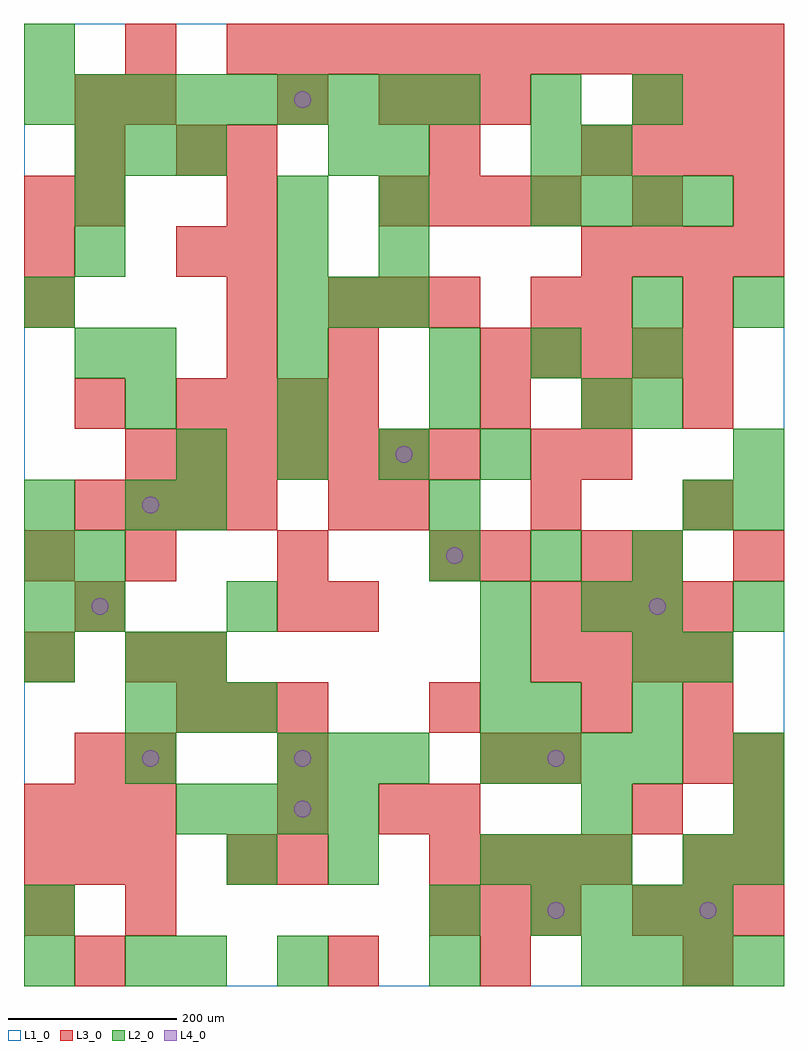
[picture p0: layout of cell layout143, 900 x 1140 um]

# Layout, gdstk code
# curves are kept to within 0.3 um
import gdstk
lib = gdstk.Library(unit=1e-6, precision=1e-09)
def R(c, l, rs):  # rectangles x0, y0, x1, y1
    for r in rs: c.add(gdstk.rectangle(r[:2], r[2:], *l))
def A(c, l, x, y, w, h, nx, ny, dx, dy):  # array of equal rectangles
    R(c, l, [(x+i*dx, y+j*dy, x+i*dx+w, y+j*dy+h) for i in range(nx) for j in range(ny)])
def P(c, l, *ps):  # polygons
    for p in ps: c.add(gdstk.Polygon(p, *l))
L1_0 = (1, 0)
L2_0 = (2, 0)
L3_0 = (3, 0)
L4_0 = (4, 0)

layout143 = lib.new_cell('layout143')
R(layout143, L1_0, [(0,0,900,1140)])
A(layout143, L2_0, 300, 0, 60, 60, 3, 1, 180, 0)
A(layout143, L2_0, 720, 0, 60, 60, 3, 1, 60, 0)
A(layout143, L2_0, 600, 60, 60, 60, 4, 2, 60, 840)
A(layout143, L2_0, 540, 120, 60, 60, 3, 1, 60, 0)
A(layout143, L2_0, 840, 120, 60, 60, 1, 3, 0, 60)
A(layout143, L2_0, 180, 180, 60, 60, 4, 1, 60, 0)
A(layout143, L2_0, 300, 240, 60, 60, 3, 2, 60, 540)
A(layout143, L2_0, 540, 240, 60, 60, 4, 1, 60, 0)
A(layout143, L2_0, 120, 300, 60, 60, 3, 1, 60, 0)
A(layout143, L2_0, 540, 300, 60, 60, 1, 3, 0, 60)
A(layout143, L2_0, 720, 300, 60, 60, 1, 3, 0, 60)
A(layout143, L2_0, 0, 360, 60, 60, 1, 4, 0, 60)
A(layout143, L2_0, 480, 480, 60, 60, 3, 1, 120, 0)
A(layout143, L2_0, 180, 540, 60, 60, 3, 1, 300, 0)
A(layout143, L2_0, 180, 600, 60, 60, 4, 1, 120, 0)
A(layout143, L2_0, 120, 660, 60, 60, 4, 1, 180, 0)
A(layout143, L2_0, 720, 660, 60, 60, 1, 3, 0, 60)
A(layout143, L2_0, 120, 720, 60, 60, 3, 1, 180, 0)
A(layout143, L2_0, 420, 840, 60, 60, 1, 3, 0, 60)
A(layout143, L2_0, 60, 960, 60, 60, 3, 1, 60, 0)
A(layout143, L2_0, 0, 1020, 60, 60, 9, 1, 60, 0)
R(layout143, L2_0, [(0,0,60,60), (120,0,180,60), (180,0,240,60), (0,60,60,120), (480,60,540,120), (240,120,300,180), (360,120,420,180), (780,120,840,180), (660,180,720,240), (120,240,180,300), (600,300,660,360), (120,360,180,420), (180,360,240,420), (780,360,840,420), (60,420,120,480), (240,420,300,480), (660,420,720,480), (840,420,900,480), (60,480,120,540), (120,540,180,600), (840,540,900,600), (840,600,900,660), (60,720,120,780), (600,720,660,780), (0,780,60,840), (840,780,900,840), (60,840,120,900), (300,840,360,900), (60,900,120,960), (300,900,360,960), (360,960,420,1020), (600,960,660,1020), (660,960,720,1020), (600,1020,660,1080), (720,1020,780,1080), (0,1080,60,1140)])
A(layout143, L3_0, 540, 0, 60, 60, 1, 3, 0, 240)
A(layout143, L3_0, 780, 0, 60, 60, 1, 3, 0, 120)
A(layout143, L3_0, 480, 60, 60, 60, 3, 2, 60, 840)
A(layout143, L3_0, 720, 60, 60, 60, 3, 2, 60, 960)
A(layout143, L3_0, 0, 120, 60, 60, 3, 2, 60, 60)
A(layout143, L3_0, 300, 120, 60, 60, 1, 3, 0, 60)
A(layout143, L3_0, 480, 120, 60, 60, 4, 1, 60, 0)
A(layout143, L3_0, 840, 120, 60, 60, 1, 3, 0, 60)
A(layout143, L3_0, 180, 300, 60, 60, 3, 1, 60, 0)
A(layout143, L3_0, 600, 360, 60, 60, 4, 2, 60, 60)
A(layout143, L3_0, 120, 480, 60, 60, 3, 1, 180, 0)
A(layout143, L3_0, 60, 540, 60, 60, 4, 1, 60, 0)
A(layout143, L3_0, 420, 540, 60, 60, 3, 1, 180, 0)
A(layout143, L3_0, 120, 600, 60, 60, 7, 1, 60, 0)
A(layout143, L3_0, 180, 660, 60, 60, 4, 1, 60, 0)
A(layout143, L3_0, 540, 660, 60, 60, 3, 1, 120, 0)
A(layout143, L3_0, 240, 720, 60, 60, 1, 3, 0, 60)
A(layout143, L3_0, 540, 720, 60, 60, 5, 1, 60, 0)
A(layout143, L3_0, 0, 780, 60, 60, 1, 3, 0, 60)
A(layout143, L3_0, 360, 780, 60, 60, 3, 1, 60, 0)
A(layout143, L3_0, 660, 840, 60, 60, 4, 2, 60, 120)
A(layout143, L3_0, 60, 900, 60, 60, 3, 1, 180, 0)
A(layout143, L3_0, 420, 1020, 60, 60, 3, 1, 60, 0)
A(layout143, L3_0, 240, 1080, 60, 60, 11, 1, 60, 0)
R(layout143, L3_0, [(60,0,120,60), (360,0,420,60), (0,60,60,120), (120,60,180,120), (240,120,300,180), (420,180,480,240), (480,180,540,240), (720,180,780,240), (60,240,120,300), (120,240,180,300), (600,240,660,300), (480,300,540,360), (660,300,720,360), (780,300,840,360), (0,360,60,420), (120,360,180,420), (180,360,240,420), (60,420,120,480), (300,420,360,480), (360,420,420,480), (0,480,60,540), (660,480,720,540), (720,480,780,540), (840,480,900,540), (360,540,420,600), (600,600,660,660), (660,600,720,660), (60,660,120,720), (360,720,420,780), (600,780,660,840), (660,780,720,840), (780,780,840,840), (180,840,240,900), (720,900,780,960), (840,900,900,960), (60,960,120,1020), (180,960,240,1020), (240,960,300,1020), (480,960,540,1020), (60,1020,120,1080), (120,1020,180,1080), (300,1020,360,1080), (120,1080,180,1140)])
P(layout143, L4_0, [(100,450),(99.239,453.827),(97.071,457.071),(93.827,459.239),(90,460),(86.173,459.239),(82.929,457.071),(80.761,453.827),(80,450),(80.761,446.173),(82.929,442.929),(86.173,440.761),(90,440),(93.827,440.761),(97.071,442.929),(99.239,446.173)],
  [(160,270),(159.239,273.827),(157.071,277.071),(153.827,279.239),(150,280),(146.173,279.239),(142.929,277.071),(140.761,273.827),(140,270),(140.761,266.173),(142.929,262.929),(146.173,260.761),(150,260),(153.827,260.761),(157.071,262.929),(159.239,266.173)],
  [(160,570),(159.239,573.827),(157.071,577.071),(153.827,579.239),(150,580),(146.173,579.239),(142.929,577.071),(140.761,573.827),(140,570),(140.761,566.173),(142.929,562.929),(146.173,560.761),(150,560),(153.827,560.761),(157.071,562.929),(159.239,566.173)],
  [(340,210),(339.239,213.827),(337.071,217.071),(333.827,219.239),(330,220),(326.173,219.239),(322.929,217.071),(320.761,213.827),(320,210),(320.761,206.173),(322.929,202.929),(326.173,200.761),(330,200),(333.827,200.761),(337.071,202.929),(339.239,206.173)],
  [(340,270),(339.239,273.827),(337.071,277.071),(333.827,279.239),(330,280),(326.173,279.239),(322.929,277.071),(320.761,273.827),(320,270),(320.761,266.173),(322.929,262.929),(326.173,260.761),(330,260),(333.827,260.761),(337.071,262.929),(339.239,266.173)],
  [(340,1050),(339.239,1053.827),(337.071,1057.071),(333.827,1059.239),(330,1060),(326.173,1059.239),(322.929,1057.071),(320.761,1053.827),(320,1050),(320.761,1046.173),(322.929,1042.929),(326.173,1040.761),(330,1040),(333.827,1040.761),(337.071,1042.929),(339.239,1046.173)],
  [(460,630),(459.239,633.827),(457.071,637.071),(453.827,639.239),(450,640),(446.173,639.239),(442.929,637.071),(440.761,633.827),(440,630),(440.761,626.173),(442.929,622.929),(446.173,620.761),(450,620),(453.827,620.761),(457.071,622.929),(459.239,626.173)],
  [(520,510),(519.239,513.827),(517.071,517.071),(513.827,519.239),(510,520),(506.173,519.239),(502.929,517.071),(500.761,513.827),(500,510),(500.761,506.173),(502.929,502.929),(506.173,500.761),(510,500),(513.827,500.761),(517.071,502.929),(519.239,506.173)],
  [(640,90),(639.239,93.827),(637.071,97.071),(633.827,99.239),(630,100),(626.173,99.239),(622.929,97.071),(620.761,93.827),(620,90),(620.761,86.173),(622.929,82.929),(626.173,80.761),(630,80),(633.827,80.761),(637.071,82.929),(639.239,86.173)],
  [(640,270),(639.239,273.827),(637.071,277.071),(633.827,279.239),(630,280),(626.173,279.239),(622.929,277.071),(620.761,273.827),(620,270),(620.761,266.173),(622.929,262.929),(626.173,260.761),(630,260),(633.827,260.761),(637.071,262.929),(639.239,266.173)],
  [(760,450),(759.239,453.827),(757.071,457.071),(753.827,459.239),(750,460),(746.173,459.239),(742.929,457.071),(740.761,453.827),(740,450),(740.761,446.173),(742.929,442.929),(746.173,440.761),(750,440),(753.827,440.761),(757.071,442.929),(759.239,446.173)],
  [(820,90),(819.239,93.827),(817.071,97.071),(813.827,99.239),(810,100),(806.173,99.239),(802.929,97.071),(800.761,93.827),(800,90),(800.761,86.173),(802.929,82.929),(806.173,80.761),(810,80),(813.827,80.761),(817.071,82.929),(819.239,86.173)])

lib.write_gds('layout143.gds')
